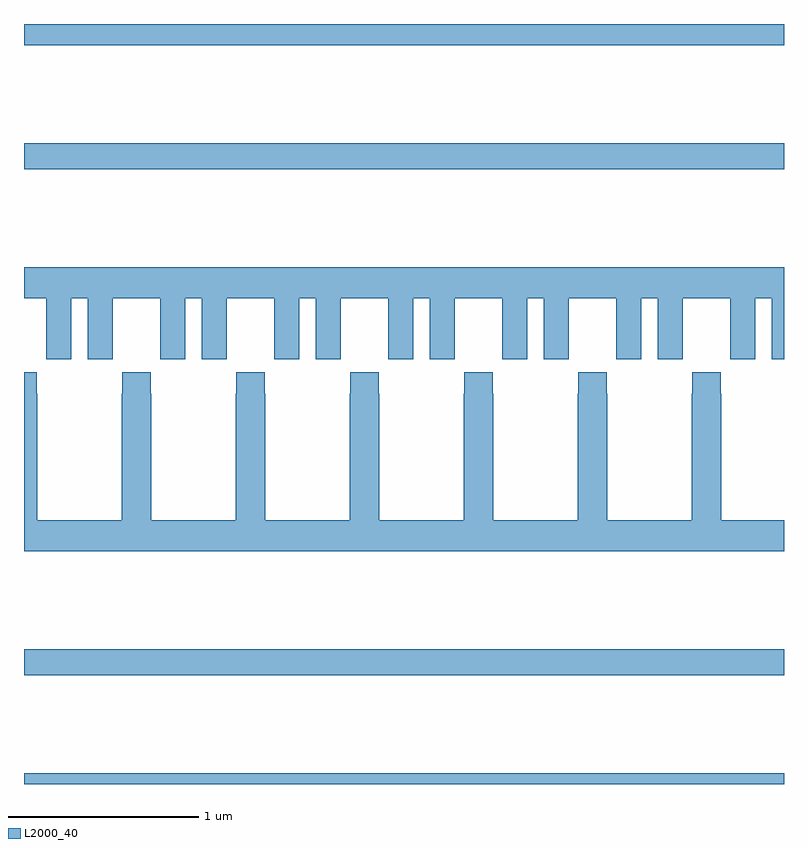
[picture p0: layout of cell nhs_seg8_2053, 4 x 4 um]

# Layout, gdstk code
import gdstk
lib = gdstk.Library(unit=1e-6, precision=1e-09)
def R(c, l, rs):  # rectangles x0, y0, x1, y1
    for r in rs: c.add(gdstk.rectangle(r[:2], r[2:], *l))
def P(c, l, *ps):  # polygons
    for p in ps: c.add(gdstk.Polygon(p, *l))
L2000_40 = (2000, 40)

nhs_seg8_2053 = lib.new_cell('nhs_seg8_2053')
R(nhs_seg8_2053, L2000_40, [(239,1157.9,243,1157.956), (239,1158.472,243,1158.608), (239,1161.136,243,1161.272), (239,1161.788,243,1161.9)])
P(nhs_seg8_2053, L2000_40, [(239,1160.456),(239.117,1160.456),(239.117,1160.248),(239.118,1160.248),(239.118,1160.136),(239.248,1160.136),(239.248,1160.456),(239.336,1160.456),(239.336,1160.136),(239.466,1160.136),(239.466,1160.248),(239.467,1160.248),(239.467,1160.456),(239.717,1160.456),(239.717,1160.248),(239.718,1160.248),(239.718,1160.136),(239.848,1160.136),(239.848,1160.456),(239.936,1160.456),(239.936,1160.136),(240.066,1160.136),(240.066,1160.248),(240.067,1160.248),(240.067,1160.456),(240.317,1160.456),(240.317,1160.248),(240.318,1160.248),(240.318,1160.136),(240.448,1160.136),(240.448,1160.456),(240.536,1160.456),(240.536,1160.136),(240.666,1160.136),(240.666,1160.248),(240.667,1160.248),(240.667,1160.456),(240.917,1160.456),(240.917,1160.248),(240.918,1160.248),(240.918,1160.136),(241.048,1160.136),(241.048,1160.456),(241.136,1160.456),(241.136,1160.136),(241.266,1160.136),(241.266,1160.248),(241.267,1160.248),(241.267,1160.456),(241.517,1160.456),(241.517,1160.248),(241.518,1160.248),(241.518,1160.136),(241.648,1160.136),(241.648,1160.456),(241.736,1160.456),(241.736,1160.136),(241.866,1160.136),(241.866,1160.248),(241.867,1160.248),(241.867,1160.456),(242.117,1160.456),(242.117,1160.248),(242.118,1160.248),(242.118,1160.136),(242.248,1160.136),(242.248,1160.456),(242.336,1160.456),(242.336,1160.136),(242.466,1160.136),(242.466,1160.248),(242.467,1160.248),(242.467,1160.456),(242.717,1160.456),(242.717,1160.248),(242.718,1160.248),(242.718,1160.136),(242.848,1160.136),(242.848,1160.456),(242.936,1160.456),(242.936,1160.136),(243,1160.136),(243,1160.62),(239,1160.62)],
  [(243,1159.288),(242.67,1159.288),(242.67,1159.955),(242.667,1159.955),(242.667,1160.068),(242.517,1160.068),(242.517,1159.955),(242.515,1159.955),(242.515,1159.288),(242.07,1159.288),(242.07,1159.955),(242.067,1159.955),(242.067,1160.068),(241.917,1160.068),(241.917,1159.955),(241.915,1159.955),(241.915,1159.288),(241.47,1159.288),(241.47,1159.955),(241.467,1159.955),(241.467,1160.068),(241.317,1160.068),(241.317,1159.955),(241.315,1159.955),(241.315,1159.288),(240.87,1159.288),(240.87,1159.955),(240.867,1159.955),(240.867,1160.068),(240.717,1160.068),(240.717,1159.955),(240.715,1159.955),(240.715,1159.288),(240.27,1159.288),(240.27,1159.955),(240.267,1159.955),(240.267,1160.068),(240.117,1160.068),(240.117,1159.955),(240.115,1159.955),(240.115,1159.288),(239.67,1159.288),(239.67,1159.955),(239.667,1159.955),(239.667,1160.068),(239.517,1160.068),(239.517,1159.955),(239.515,1159.955),(239.515,1159.288),(239.07,1159.288),(239.07,1159.955),(239.067,1159.955),(239.067,1160.068),(239,1160.068),(239,1159.124),(243,1159.124)])

lib.write_gds('nhs_seg8_2053.gds')
